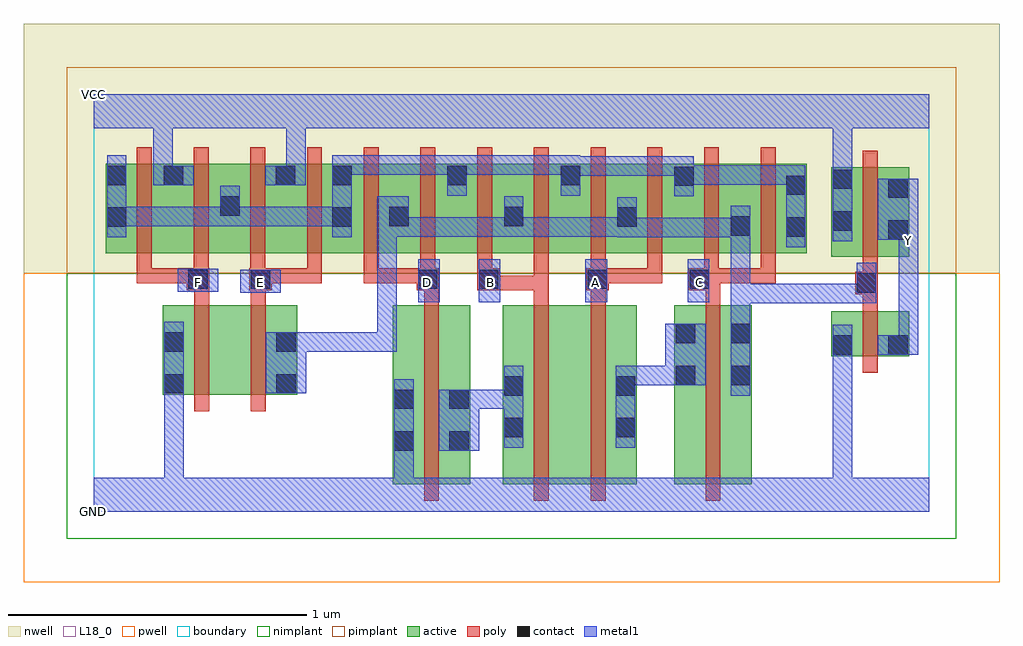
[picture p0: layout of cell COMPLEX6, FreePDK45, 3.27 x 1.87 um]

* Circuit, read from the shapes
.subckt COMPLEX6 A B C D E F GND VCC Y
M1 n1 F GND VSUBS nfet w=0.3u l=0.05u
M2 n2 E n1 VSUBS nfet w=0.3u l=0.05u
M3 n3 D GND VSUBS nfet w=0.6u l=0.05u
M4 n4 B n3 VSUBS nfet w=0.6u l=0.05u
M5 n5 A n4 VSUBS nfet w=0.6u l=0.05u
M6 n2 C n5 VSUBS nfet w=0.6u l=0.05u
M7 Y n2 GND VSUBS nfet w=0.15u l=0.05u
M8 VCC F n6 n7 pfet w=0.3u l=0.05u m=2
M9 VCC E n6 n7 pfet w=0.3u l=0.05u m=2
M10 n2 D n6 n7 pfet w=0.3u l=0.05u m=2
M11 n2 B n6 n7 pfet w=0.3u l=0.05u m=2
M12 n2 A n6 n7 pfet w=0.3u l=0.05u m=2
M13 n2 C n6 n7 pfet w=0.3u l=0.05u m=2
M14 Y n2 VCC n7 pfet w=0.3u l=0.05u
.ends

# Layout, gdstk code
import gdstk
lib = gdstk.Library(unit=1e-6, precision=1e-09)
def R(c, l, rs):  # rectangles x0, y0, x1, y1
    for r in rs: c.add(gdstk.rectangle(r[:2], r[2:], *l))
def A(c, l, x, y, w, h, nx, ny, dx, dy):  # array of equal rectangles
    R(c, l, [(x+i*dx, y+j*dy, x+i*dx+w, y+j*dy+h) for i in range(nx) for j in range(ny)])
active = (1, 0)
pwell = (2, 0)
nwell = (3, 0)
nimplant = (4, 0)
pimplant = (5, 0)
poly = (9, 0)
contact = (10, 0)
metal1 = (11, 0)
L18_0 = (18, 0)
boundary = (235, 0)

complex6 = lib.new_cell('COMPLEX6')
A(complex6, active, 1.18, 0.867, 0.265, 0.3, 5, 1, 0.19, 0)
A(complex6, active, 1.18, 0.995, 0.075, 0.172, 3, 1, 0.38, 0)
R(complex6, active, [(1.002,0.092,1.262,0.692), (1.37,0.092,1.595,0.692), (1.595,0.092,1.82,0.692), (1.945,0.092,2.205,0.692), (1.002,0.145,1.077,0.692), (1.187,0.145,1.262,0.692), (1.37,0.145,1.475,0.692), (1.745,0.145,1.82,0.692), (1.945,0.145,2.02,0.692), (2.13,0.145,2.205,0.692), (0.232,0.392,0.307,0.692), (0.232,0.392,0.457,0.692), (0.457,0.392,0.682,0.692), (0.607,0.392,0.682,0.692), (2.472,0.522,2.547,0.672), (2.472,0.522,2.732,0.672), (2.657,0.522,2.732,0.672), (2.472,0.855,2.547,1.155), (2.472,0.855,2.732,1.155), (2.657,0.855,2.732,1.155), (0.04,0.867,0.115,1.167), (0.04,0.867,0.305,1.167), (0.23,0.867,0.495,1.167), (0.42,0.867,0.495,1.167), (0.42,0.867,0.68,1.167), (0.605,0.867,0.68,1.167), (0.605,0.867,0.87,1.167), (0.795,0.867,1.06,1.167), (0.795,0.867,0.87,1.165), (0.985,0.867,1.255,1.167), (2.13,0.867,2.39,1.167), (2.315,0.867,2.39,1.167), (2.13,0.92,2.205,1.07), (1.75,0.95,1.825,1.07), (0.985,0.952,1.06,1.07), (1.37,0.952,1.445,1.07), (0.23,1.007,0.305,1.165)])
R(complex6, pwell, [(-0.235,-0.235,3.035,0.8)])
R(complex6, nwell, [(-0.235,0.8,3.035,1.635)])
R(complex6, nimplant, [(-0.09,-0.09,2.89,0.8)])
R(complex6, pimplant, [(-0.09,0.8,2.89,1.49)])
A(complex6, poly, 0.145, 0.767, 0.05, 0.095, 7, 1, 0.19, 0)
A(complex6, poly, 1.665, 0.767, 0.05, 0.095, 4, 1, 0.19, 0)
A(complex6, poly, 0.145, 0.812, 0.05, 0.41, 12, 1, 0.19, 0)
R(complex6, poly, [(1.107,0.037,1.157,0.747), (1.475,0.037,1.525,0.747), (1.665,0.037,1.715,0.747), (2.05,0.037,2.1,0.747), (0.337,0.337,0.387,0.747), (0.527,0.337,0.577,0.747), (2.577,0.467,2.627,0.727), (2.577,0.677,2.627,0.78), (0.337,0.697,0.387,0.792), (0.527,0.697,0.577,0.792), (1.107,0.697,1.157,0.792), (1.475,0.697,1.525,0.792), (1.665,0.697,1.715,0.792), (2.05,0.697,2.1,0.792), (2.552,0.73,2.627,0.805), (0.312,0.742,0.387,0.817), (0.522,0.742,0.597,0.817), (1.082,0.742,1.157,0.817), (1.285,0.742,1.36,0.817), (1.31,0.742,1.36,0.792), (1.31,0.742,1.36,0.792), (1.31,0.742,1.525,0.792), (1.475,0.742,1.525,0.792), (1.475,0.742,1.525,0.862), (1.65,0.742,1.725,0.817), (1.992,0.742,2.1,0.817), (2.577,0.755,2.627,0.85), (0.145,0.767,0.195,0.817), (0.145,0.767,0.362,0.817), (0.312,0.767,0.362,0.817), (0.312,0.767,0.362,0.817), (0.547,0.767,0.765,0.817), (0.715,0.767,0.765,0.817), (0.715,0.767,0.765,0.817), (0.715,0.767,0.765,0.817), (0.905,0.767,0.955,0.817), (0.905,0.767,0.955,0.817), (0.905,0.767,0.955,0.817), (0.905,0.767,1.132,0.817), (1.675,0.767,1.735,0.817), (1.685,0.767,1.735,0.817), (1.685,0.767,1.905,0.817), (1.855,0.767,1.905,0.817), (2.05,0.767,2.285,0.817), (2.05,0.767,2.1,0.817), (2.05,0.767,2.1,0.817), (2.235,0.767,2.285,0.817), (2.577,0.8,2.627,1.21)])
R(complex6, contact, [(1.007,0.205,1.072,0.27), (1.192,0.205,1.257,0.27), (1.375,0.25,1.44,0.315), (1.75,0.25,1.815,0.315), (1.007,0.345,1.072,0.41), (1.192,0.345,1.257,0.41), (1.375,0.39,1.44,0.455), (1.75,0.39,1.815,0.455), (0.237,0.397,0.302,0.462), (0.612,0.397,0.677,0.462), (1.95,0.425,2.015,0.49), (2.135,0.425,2.2,0.49), (2.477,0.527,2.542,0.592), (2.662,0.527,2.727,0.592), (0.237,0.537,0.302,0.602), (0.612,0.537,0.677,0.602), (1.95,0.565,2.015,0.63), (2.135,0.565,2.2,0.63), (2.557,0.735,2.622,0.8), (0.317,0.747,0.382,0.812), (0.527,0.747,0.592,0.812), (1.087,0.747,1.152,0.812), (1.29,0.747,1.355,0.812), (1.655,0.747,1.72,0.812), (1.997,0.747,2.062,0.812), (2.662,0.912,2.727,0.977), (2.32,0.922,2.385,0.987), (2.135,0.925,2.2,0.99), (2.477,0.942,2.542,1.007), (0.045,0.955,0.11,1.02), (0.8,0.955,0.865,1.02), (1.755,0.955,1.82,1.02), (0.99,0.957,1.055,1.022), (1.375,0.957,1.44,1.022), (0.425,0.992,0.49,1.057), (2.662,1.052,2.727,1.117), (2.32,1.062,2.385,1.127), (2.477,1.082,2.542,1.147), (1.945,1.092,2.01,1.157), (0.045,1.095,0.11,1.16), (0.235,1.095,0.3,1.16), (0.61,1.095,0.675,1.16), (0.8,1.095,0.865,1.16), (1.185,1.095,1.25,1.16), (1.565,1.095,1.63,1.16)])
R(complex6, metal1, [(0,0,2.8,0.115), (0.237,0.05,0.302,0.115), (0.237,0.05,0.302,0.115), (0.237,0.05,0.302,0.115), (0.237,0.05,0.302,0.115), (0.237,0.05,0.302,0.115), (0.237,0.05,0.302,0.115), (0.237,0.05,0.302,0.427), (1.007,0.05,1.072,0.235), (2.477,0.05,2.542,0.115), (2.477,0.05,2.542,0.115), (2.477,0.05,2.542,0.115), (2.477,0.05,2.542,0.115), (2.477,0.05,2.542,0.115), (2.477,0.05,2.542,0.115), (2.477,0.05,2.542,0.115), (2.477,0.05,2.542,0.115), (2.477,0.05,2.542,0.557), (1.007,0.17,1.072,0.235), (1.007,0.17,1.072,0.235), (1.007,0.17,1.072,0.445), (1.157,0.205,1.292,0.41), (1.375,0.215,1.44,0.49), (1.75,0.215,1.815,0.49), (1.227,0.345,1.292,0.41), (1.227,0.345,1.292,0.41), (1.227,0.345,1.44,0.41), (0.237,0.362,0.302,0.637), (2.135,0.39,2.2,0.665), (0.577,0.397,0.712,0.602), (1.75,0.425,1.815,0.49), (1.75,0.425,1.815,0.49), (1.75,0.425,1.98,0.49), (1.915,0.425,2.05,0.63), (2.477,0.492,2.542,0.627), (2.627,0.527,2.762,0.592), (2.697,0.527,2.762,0.907), (0.647,0.537,0.712,0.602), (0.647,0.537,0.712,0.602), (0.647,0.537,0.877,0.602), (0.812,0.537,0.877,0.602), (0.812,0.537,0.877,0.602), (0.812,0.537,0.877,0.602), (0.812,0.537,1.015,0.602), (0.95,0.537,1.015,0.602), (0.95,0.537,1.015,0.987), (2.135,0.6,2.2,0.765), (2.135,0.7,2.2,0.765), (2.135,0.7,2.2,0.765), (2.135,0.7,2.2,0.765), (2.135,0.7,2.485,0.765), (2.135,0.7,2.2,0.955), (2.42,0.7,2.485,0.765), (2.42,0.7,2.485,0.765), (2.42,0.7,2.485,0.765), (2.42,0.7,2.622,0.765), (2.557,0.7,2.622,0.835), (1.087,0.702,1.16,0.847), (1.29,0.702,1.362,0.847), (1.647,0.702,1.72,0.847), (1.99,0.702,2.062,0.847), (0.492,0.735,0.627,0.812), (0.282,0.737,0.417,0.815), (2.697,0.842,2.762,0.977), (2.32,0.887,2.385,1.162), (2.135,0.89,2.2,1.025), (2.477,0.907,2.542,1.182), (2.627,0.912,2.762,1.117), (2.697,0.912,2.762,0.977), (0.045,0.92,0.11,1.195), (0.8,0.92,0.865,1.195), (1.755,0.92,1.82,0.985), (1.755,0.92,1.82,0.985), (1.755,0.92,1.82,1.055), (1.755,0.92,1.957,0.985), (1.892,0.92,1.957,0.985), (1.892,0.92,1.957,0.985), (1.892,0.92,1.957,0.985), (1.892,0.92,2.2,0.985), (0.95,0.922,1.015,0.987), (0.95,0.922,1.015,0.987), (0.95,0.922,1.055,1.057), (0.99,0.922,1.055,0.987), (0.99,0.922,1.055,0.987), (0.99,0.922,1.297,0.987), (1.232,0.922,1.297,0.987), (1.232,0.922,1.297,0.987), (1.232,0.922,1.297,0.987), (1.232,0.922,1.44,0.987), (1.375,0.922,1.44,1.057), (1.375,0.922,1.46,0.987), (1.395,0.922,1.46,0.987), (1.395,0.922,1.677,0.987), (1.612,0.922,1.677,0.987), (1.612,0.922,1.677,0.987), (1.612,0.922,1.677,0.987), (1.612,0.922,1.82,0.987), (0.045,0.957,0.11,1.022), (0.045,0.957,0.11,1.022), (0.045,0.957,0.247,1.022), (0.182,0.957,0.247,1.022), (0.182,0.957,0.247,1.022), (0.182,0.957,0.247,1.022), (0.182,0.957,0.49,1.022), (0.425,0.957,0.49,1.022), (0.425,0.957,0.49,1.022), (0.425,0.957,0.49,1.092), (0.425,0.957,0.727,1.022), (0.662,0.957,0.727,1.022), (0.662,0.957,0.727,1.022), (0.662,0.957,0.727,1.022), (0.662,0.957,0.865,1.022), (1.945,1.057,2.01,1.192), (1.185,1.06,1.25,1.195), (1.565,1.06,1.63,1.195), (0.2,1.095,0.335,1.16), (0.2,1.095,0.265,1.35), (0.575,1.095,0.71,1.16), (0.645,1.095,0.71,1.35), (1.945,1.097,2.01,1.162), (1.945,1.097,2.01,1.162), (1.945,1.097,2.247,1.162), (2.182,1.097,2.247,1.162), (2.182,1.097,2.247,1.162), (2.182,1.097,2.247,1.162), (2.182,1.097,2.385,1.162), (2.477,1.117,2.542,1.182), (2.477,1.117,2.542,1.182), (2.477,1.117,2.542,1.35), (1.565,1.127,1.637,1.192), (1.572,1.127,1.637,1.192), (1.572,1.127,1.82,1.192), (1.755,1.127,1.82,1.192), (1.755,1.127,1.82,1.192), (1.755,1.127,1.82,1.192), (1.755,1.127,2.01,1.192), (0.8,1.13,0.865,1.195), (0.8,1.13,0.865,1.195), (0.8,1.13,0.865,1.195), (0.8,1.13,0.865,1.195), (0.8,1.13,1.015,1.195), (0.95,1.13,1.015,1.195), (0.95,1.13,1.015,1.195), (0.95,1.13,1.015,1.195), (0.95,1.13,1.25,1.195), (1.185,1.13,1.25,1.195), (1.185,1.13,1.25,1.195), (1.185,1.13,1.435,1.195), (1.37,1.13,1.435,1.195), (1.37,1.13,1.5,1.195), (1.435,1.13,1.5,1.195), (1.435,1.13,1.63,1.195), (0,1.285,2.8,1.4), (0.2,1.285,0.265,1.35), (0.2,1.285,0.265,1.35), (0.645,1.285,0.71,1.35), (0.645,1.285,0.71,1.35)])
A(complex6, L18_0, 1.297, 0.737, 0.065, 0.065, 3, 1, 0.35, 0)
R(complex6, L18_0, [(0,0,2.8,0.115), (0.237,0.05,0.302,0.115), (0.237,0.05,0.302,0.115), (0.237,0.05,0.302,0.115), (0.237,0.05,0.302,0.115), (0.237,0.05,0.302,0.115), (0.237,0.05,0.302,0.115), (0.237,0.05,0.302,0.427), (1.007,0.05,1.072,0.235), (2.477,0.05,2.542,0.115), (2.477,0.05,2.542,0.115), (2.477,0.05,2.542,0.115), (2.477,0.05,2.542,0.115), (2.477,0.05,2.542,0.115), (2.477,0.05,2.542,0.115), (2.477,0.05,2.542,0.115), (2.477,0.05,2.542,0.115), (2.477,0.05,2.542,0.557), (1.007,0.17,1.072,0.235), (1.007,0.17,1.072,0.235), (1.007,0.17,1.072,0.445), (0.237,0.362,0.302,0.637), (2.477,0.492,2.542,0.627), (2.627,0.527,2.762,0.592), (2.697,0.527,2.762,0.907), (1.087,0.702,1.16,0.847), (1.29,0.702,1.362,0.847), (1.647,0.702,1.72,0.847), (1.99,0.702,2.062,0.847), (0.492,0.735,0.627,0.812), (0.282,0.737,0.417,0.815), (0.317,0.737,0.382,0.802), (0.527,0.737,0.592,0.802), (1.087,0.737,1.152,0.802), (2.697,0.842,2.762,0.977), (2.697,0.877,2.762,0.942), (2.477,0.907,2.542,1.182), (2.627,0.912,2.762,1.117), (2.697,0.912,2.762,0.977), (0.2,1.095,0.335,1.16), (0.2,1.095,0.265,1.35), (0.575,1.095,0.71,1.16), (0.645,1.095,0.71,1.35), (2.477,1.117,2.542,1.182), (2.477,1.117,2.542,1.182), (2.477,1.117,2.542,1.35), (0,1.285,2.8,1.4), (0.2,1.285,0.265,1.35), (0.2,1.285,0.265,1.35), (0.645,1.285,0.71,1.35), (0.645,1.285,0.71,1.35)])
R(complex6, boundary, [(0,0,2.8,1.4)])
complex6.add(gdstk.Label('A', (1.68,0.77), layer=11, texttype=0))
complex6.add(gdstk.Label('B', (1.33,0.77), layer=11, texttype=0))
complex6.add(gdstk.Label('C', (2.03,0.77), layer=11, texttype=0))
complex6.add(gdstk.Label('D', (1.12,0.77), layer=11, texttype=0))
complex6.add(gdstk.Label('E', (0.56,0.77), layer=11, texttype=0))
complex6.add(gdstk.Label('F', (0.35,0.77), layer=11, texttype=0))
complex6.add(gdstk.Label('Y', (2.73,0.91), layer=11, texttype=0))
complex6.add(gdstk.Label('VCC', (0,1.4), layer=11, texttype=0))
complex6.add(gdstk.Label('GND', (0,0), layer=11, texttype=0))

lib.write_gds('COMPLEX6.gds')
